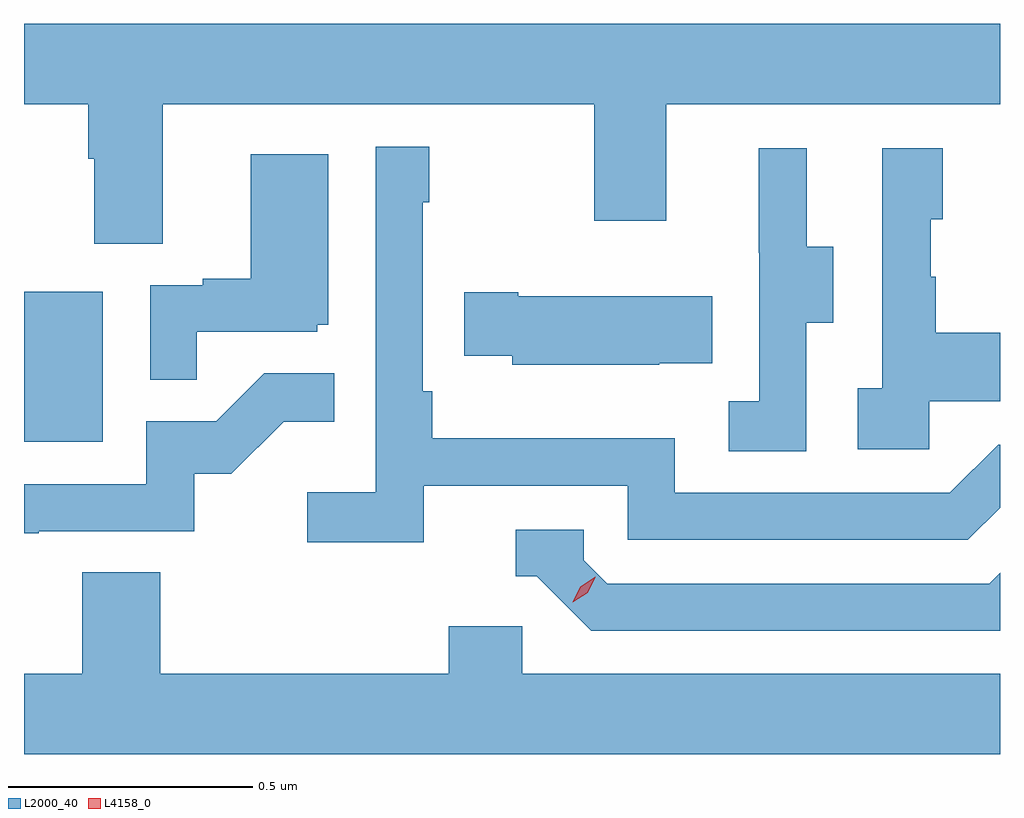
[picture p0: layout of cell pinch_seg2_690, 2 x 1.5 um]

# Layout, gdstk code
import gdstk
lib = gdstk.Library(unit=1e-6, precision=1e-09)
def R(c, l, rs):  # rectangles x0, y0, x1, y1
    for r in rs: c.add(gdstk.rectangle(r[:2], r[2:], *l))
def P(c, l, *ps):  # polygons
    for p in ps: c.add(gdstk.Polygon(p, *l))
L2000_40 = (2000, 40)
L4158_0 = (4158, 0)

pinch_seg2_690 = lib.new_cell('pinch_seg2_690')
R(pinch_seg2_690, L2000_40, [(1076.633,589.668,1076.794,589.975)])
P(pinch_seg2_690, L2000_40, [(1076.917,590.36),(1077.802,590.36),(1077.802,590.121),(1077.949,590.121),(1077.949,590.36),(1078.633,590.36),(1078.633,590.524),(1076.633,590.524),(1076.633,590.36),(1076.765,590.36),(1076.765,590.248),(1076.777,590.248),(1076.777,590.074),(1076.917,590.074)],
  [(1077.452,589.578),(1077.87,589.578),(1077.87,589.467),(1078.567,589.467),(1078.633,589.533),(1078.633,589.662),(1078.629,589.662),(1078.53,589.563),(1077.966,589.563),(1077.966,589.675),(1077.47,589.675),(1077.47,589.771),(1077.45,589.771),(1077.45,590.159),(1077.463,590.159),(1077.463,590.272),(1077.354,590.272),(1077.354,589.564),(1077.213,589.564),(1077.213,589.462),(1077.452,589.462)],
  [(1078.236,589.912),(1078.291,589.912),(1078.291,590.067),(1078.237,590.067),(1078.237,590.269),(1078.139,590.269),(1078.139,590.055),(1078.14,590.055),(1078.14,589.751),(1078.077,589.751),(1078.077,589.648),(1078.236,589.648)],
  [(1078.488,589.751),(1078.633,589.751),(1078.633,589.891),(1078.501,589.891),(1078.501,590.006),(1078.491,590.006),(1078.491,590.124),(1078.516,590.124),(1078.516,590.269),(1078.392,590.269),(1078.392,589.778),(1078.341,589.778),(1078.341,589.653),(1078.488,589.653)],
  [(1076.987,589.893),(1077.234,589.893),(1077.234,589.908),(1077.256,589.908),(1077.256,590.257),(1077.098,590.257),(1077.098,590.002),(1076.999,590.002),(1076.999,589.989),(1076.892,589.989),(1076.892,589.795),(1076.987,589.795)],
  [(1077.935,589.829),(1078.043,589.829),(1078.043,589.966),(1077.646,589.966),(1077.646,589.974),(1077.535,589.974),(1077.535,589.844),(1077.633,589.844),(1077.633,589.826),(1077.935,589.826)],
  [(1076.663,589.485),(1076.982,589.485),(1076.982,589.602),(1077.058,589.602),(1077.165,589.709),(1077.269,589.709),(1077.269,589.808),(1077.125,589.808),(1077.027,589.71),(1076.883,589.71),(1076.883,589.581),(1076.633,589.581),(1076.633,589.48),(1076.663,589.48)],
  [(1078.633,589.399),(1078.611,589.377),(1077.828,589.377),(1077.78,589.425),(1077.78,589.488),(1077.641,589.488),(1077.641,589.392),(1077.684,589.392),(1077.795,589.281),(1078.633,589.281)],
  [(1078.633,589.192),(1077.654,589.192),(1077.654,589.29),(1077.503,589.29),(1077.503,589.192),(1076.912,589.192),(1076.912,589.4),(1076.752,589.4),(1076.752,589.192),(1076.633,589.192),(1076.633,589.028),(1078.633,589.028)])
P(pinch_seg2_690, L4158_0, [(1077.757,589.339),(1077.757,589.339),(1077.773,589.371),(1077.804,589.391),(1077.804,589.391),(1077.804,589.39),(1077.788,589.358),(1077.757,589.339)])

lib.write_gds('pinch_seg2_690.gds')
